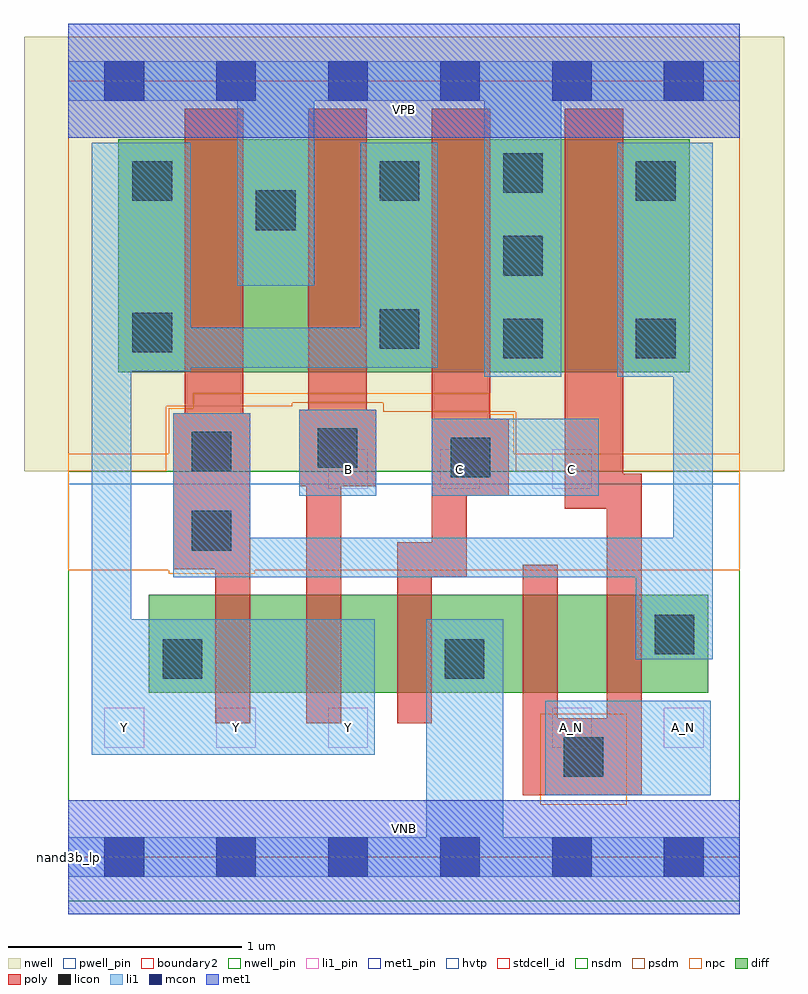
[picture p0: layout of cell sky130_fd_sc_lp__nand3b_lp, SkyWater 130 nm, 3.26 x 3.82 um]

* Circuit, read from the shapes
.subckt sky130_fd_sc_lp__nand3b_lp A_N B C VGND VNB VPB VPWR Y
XM1 n1 n2 Y VNB sky130_fd_pr__nfet_01v8 w=0.42 l=0.15
XM2 n3 B n1 VNB sky130_fd_pr__nfet_01v8 w=0.42 l=0.15
XM3 VGND C n3 VNB sky130_fd_pr__nfet_01v8 w=0.42 l=0.15
XM4 n4 A_N VGND VNB sky130_fd_pr__nfet_01v8 w=0.42 l=0.15
XM5 n2 A_N n4 VNB sky130_fd_pr__nfet_01v8 w=0.42 l=0.15
XM6 VPWR n2 Y VPB sky130_fd_pr__pfet_01v8_hvt w=1 l=0.25
XM7 Y B VPWR VPB sky130_fd_pr__pfet_01v8_hvt w=1 l=0.25
XM8 VPWR C Y VPB sky130_fd_pr__pfet_01v8_hvt w=1 l=0.25
XM9 n2 A_N VPWR VPB sky130_fd_pr__pfet_01v8_hvt w=1 l=0.25
.ends

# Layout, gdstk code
import gdstk
lib = gdstk.Library(unit=1e-6, precision=1e-09)
def R(c, l, rs):  # rectangles x0, y0, x1, y1
    for r in rs: c.add(gdstk.rectangle(r[:2], r[2:], *l))
def A(c, l, x, y, w, h, nx, ny, dx, dy):  # array of equal rectangles
    R(c, l, [(x+i*dx, y+j*dy, x+i*dx+w, y+j*dy+h) for i in range(nx) for j in range(ny)])
def P(c, l, *ps):  # polygons
    for p in ps: c.add(gdstk.Polygon(p, *l))
nwell_pin = (64, 16)
nwell = (64, 20)
diff = (65, 20)
poly = (66, 20)
licon = (66, 44)
li1_pin = (67, 16)
li1 = (67, 20)
mcon = (67, 44)
met1_pin = (68, 16)
met1 = (68, 20)
hvtp = (78, 44)
stdcell_id = (81, 4)
nsdm = (93, 44)
psdm = (94, 20)
npc = (95, 20)
pwell_pin = (122, 16)
boundary2 = (236, 0)

sky130_fd_sc_lp__nand3b_ = lib.new_cell('sky130_fd_sc_lp__nand3b_lp')
R(sky130_fd_sc_lp__nand3b_, nwell_pin, [(0,3.085,2.88,3.33)])
R(sky130_fd_sc_lp__nand3b_, nwell, [(-0.19,1.655,3.07,3.52)])
R(sky130_fd_sc_lp__nand3b_, diff, [(0.345,0.705,2.745,1.125), (0.215,2.08,2.665,3.08)])
P(sky130_fd_sc_lp__nand3b_, poly, [(0.78,1.905),(0.75,1.905),(0.75,3.21),(0.5,3.21),(0.5,1.905),(0.45,1.905),(0.45,1.235),(0.63,1.235),(0.63,0.575),(0.78,0.575)],
  [(1.32,1.92),(1.28,1.92),(1.28,3.21),(1.03,3.21),(1.03,1.92),(0.99,1.92),(0.99,1.59),(1.02,1.59),(1.02,0.575),(1.17,0.575),(1.17,1.59),(1.32,1.59)],
  [(1.89,1.88),(1.81,1.88),(1.81,3.21),(1.56,3.21),(1.56,1.35),(1.41,1.35),(1.41,0.575),(1.56,0.575),(1.56,1.2),(1.71,1.2),(1.71,1.55),(1.89,1.55)],
  [(2.46,1.645),(2.38,1.645),(2.38,3.21),(2.13,3.21),(2.13,1.495),(2.31,1.495),(2.31,0.595),(2.1,0.595),(2.1,1.255),(1.95,1.255),(1.95,0.265),(2.46,0.265)])
A(sky130_fd_sc_lp__nand3b_, licon, 1.865, 2.14, 0.17, 0.17, 1, 3, 0, 0.355)
R(sky130_fd_sc_lp__nand3b_, licon, [(2.125,0.345,2.295,0.515), (0.405,0.765,0.575,0.935), (1.615,0.765,1.785,0.935), (2.515,0.87,2.685,1.04), (0.53,1.315,0.7,1.485), (1.64,1.63,1.81,1.8), (0.53,1.655,0.7,1.825), (1.07,1.67,1.24,1.84), (2.435,2.14,2.605,2.31), (0.275,2.165,0.445,2.335), (1.335,2.18,1.505,2.35), (0.805,2.69,0.975,2.86), (0.275,2.815,0.445,2.985), (1.335,2.815,1.505,2.985), (2.435,2.815,2.605,2.985)])
A(sky130_fd_sc_lp__nand3b_, li1_pin, 0.155, 0.47, 0.17, 0.17, 3, 1, 0.48, 0)
A(sky130_fd_sc_lp__nand3b_, li1_pin, 1.115, 1.58, 0.17, 0.17, 3, 1, 0.48, 0)
R(sky130_fd_sc_lp__nand3b_, li1_pin, [(2.075,0.47,2.245,0.64), (2.555,0.47,2.725,0.64)])
R(sky130_fd_sc_lp__nand3b_, li1, [(2.045,0.265,2.755,0.67), (0.99,1.55,1.32,1.92), (1.56,1.55,2.275,1.88)])
P(sky130_fd_sc_lp__nand3b_, li1, [(1.785,2.06),(1.785,3.245),(1.055,3.245),(1.055,2.45),(0.725,2.45),(0.725,3.245),(0,3.245),(0,3.415),(2.88,3.415),(2.88,3.245),(2.115,3.245),(2.115,2.06)],
  [(1.535,0.085),(1.535,1.02),(1.865,1.02),(1.865,0.085),(2.88,0.085),(2.88,-0.085),(0,-0.085),(0,0.085)],
  [(0.78,1.37),(2.595,1.37),(2.595,2.06),(2.355,2.06),(2.355,3.065),(2.765,3.065),(2.765,0.85),(2.435,0.85),(2.435,1.2),(0.45,1.2),(0.45,1.905),(0.78,1.905)],
  [(0.1,0.44),(0.1,3.065),(0.525,3.065),(0.525,2.27),(1.255,2.27),(1.255,3.065),(1.585,3.065),(1.585,2.1),(0.525,2.1),(0.525,2.085),(0.27,2.085),(0.27,1.02),(1.315,1.02),(1.315,0.44)])
A(sky130_fd_sc_lp__nand3b_, mcon, 0.155, -0.085, 0.17, 0.17, 6, 2, 0.48, 3.33)
R(sky130_fd_sc_lp__nand3b_, met1_pin, [(0,0,2.88,0.245), (0,3.085,2.88,3.33)])
R(sky130_fd_sc_lp__nand3b_, met1, [(0,-0.245,2.88,0.245), (0,3.085,2.88,3.575)])
R(sky130_fd_sc_lp__nand3b_, hvtp, [(0,1.6,2.88,3.33)])
R(sky130_fd_sc_lp__nand3b_, stdcell_id, [(0,0,2.88,3.33)])
R(sky130_fd_sc_lp__nand3b_, nsdm, [(0,-0.19,2.88,1.655)])
P(sky130_fd_sc_lp__nand3b_, psdm, [(2.88,3.52),(0,3.52),(0,1.655),(0.42,1.655),(0.42,1.935),(0.96,1.935),(0.96,1.95),(1.35,1.95),(1.35,1.91),(1.92,1.91),(1.92,1.655),(2.88,1.655)])
R(sky130_fd_sc_lp__nand3b_, npc, [(2.025,0.225,2.395,0.615)])
P(sky130_fd_sc_lp__nand3b_, npc, [(2.88,1.73),(1.91,1.73),(1.91,1.9),(1.805,1.9),(1.805,1.99),(0.535,1.99),(0.535,1.925),(0.43,1.925),(0.43,1.73),(0,1.73),(0,1.23),(0.43,1.23),(0.43,1.215),(0.8,1.215),(0.8,1.23),(2.88,1.23)])
R(sky130_fd_sc_lp__nand3b_, pwell_pin, [(0,0,2.88,0.245)])
R(sky130_fd_sc_lp__nand3b_, boundary2, [(0,0,2.88,3.33)])
sky130_fd_sc_lp__nand3b_.add(gdstk.Label('VNB', (1.44,0.123), layer=64, texttype=59))
sky130_fd_sc_lp__nand3b_.add(gdstk.Label('VPB', (1.44,3.208), layer=64, texttype=5))
sky130_fd_sc_lp__nand3b_.add(gdstk.Label('nand3b_lp', (0,0), layer=83, texttype=44))
sky130_fd_sc_lp__nand3b_.add(gdstk.Label('VPWR', (1.44,3.208), layer=68, texttype=5))
sky130_fd_sc_lp__nand3b_.add(gdstk.Label('VGND', (1.44,0.123), layer=68, texttype=5))
sky130_fd_sc_lp__nand3b_.add(gdstk.Label('A_N', (2.16,0.555), layer=67, texttype=5))
sky130_fd_sc_lp__nand3b_.add(gdstk.Label('A_N', (2.64,0.555), layer=67, texttype=5))
sky130_fd_sc_lp__nand3b_.add(gdstk.Label('C', (1.68,1.665), layer=67, texttype=5))
sky130_fd_sc_lp__nand3b_.add(gdstk.Label('C', (2.16,1.665), layer=67, texttype=5))
sky130_fd_sc_lp__nand3b_.add(gdstk.Label('B', (1.2,1.665), layer=67, texttype=5))
sky130_fd_sc_lp__nand3b_.add(gdstk.Label('Y', (0.24,0.555), layer=67, texttype=5))
sky130_fd_sc_lp__nand3b_.add(gdstk.Label('Y', (0.72,0.555), layer=67, texttype=5))
sky130_fd_sc_lp__nand3b_.add(gdstk.Label('Y', (1.2,0.555), layer=67, texttype=5))

lib.write_gds('sky130_fd_sc_lp__nand3b_lp.gds')
